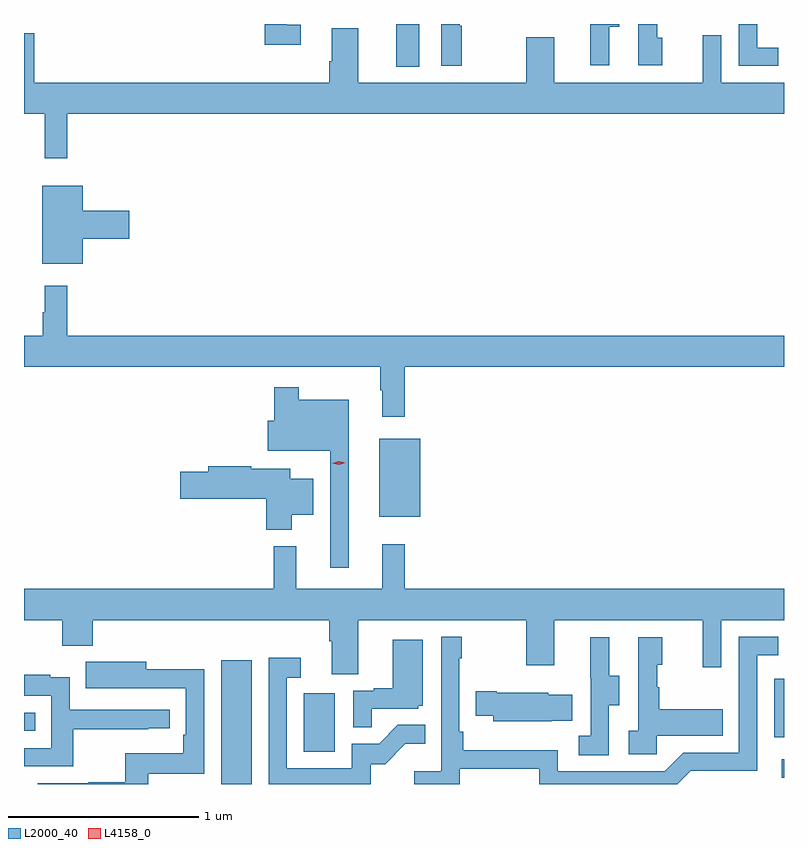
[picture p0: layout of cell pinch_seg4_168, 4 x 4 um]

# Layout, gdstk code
import gdstk
lib = gdstk.Library(unit=1e-6, precision=1e-09)
def R(c, l, rs):  # rectangles x0, y0, x1, y1
    for r in rs: c.add(gdstk.rectangle(r[:2], r[2:], *l))
def P(c, l, *ps):  # polygons
    for p in ps: c.add(gdstk.Polygon(p, *l))
L2000_40 = (2000, 40)
L4158_0 = (4158, 0)

pinch_seg4_168 = lib.new_cell('pinch_seg4_168')
R(pinch_seg4_168, L2000_40, [(1114.379,791.961,1114.54,792.613), (1117.329,791.994,1117.342,792.09), (1114.814,792.132,1114.978,792.439), (1117.29,792.207,1117.342,792.516), (1113.342,792.24,1113.401,792.336), (1115.213,793.367,1115.428,793.777), (1115.3,795.737,1115.422,795.961), (1117.29,795.96,1117.342,795.961)])
P(pinch_seg4_168, L2000_40, [(1114.798,795.957),(1114.725,795.957),(1114.725,795.961),(1114.609,795.961),(1114.609,795.852),(1114.798,795.852)],
  [(1116.421,795.946),(1116.475,795.946),(1116.475,795.961),(1116.324,795.961),(1116.324,795.957),(1116.323,795.957),(1116.323,795.744),(1116.421,795.744)],
  [(1116.7,795.888),(1116.675,795.888),(1116.675,795.961),(1116.576,795.961),(1116.576,795.744),(1116.7,795.744)],
  [(1115.647,795.953),(1115.635,795.953),(1115.635,795.961),(1115.538,795.961),(1115.538,795.741),(1115.647,795.741)],
  [(1117.313,795.837),(1117.2,795.837),(1117.2,795.961),(1117.104,795.961),(1117.104,795.741),(1117.313,795.741)],
  [(1117.342,795.652),(1117.011,795.652),(1117.011,795.901),(1116.914,795.901),(1116.914,795.652),(1116.133,795.652),(1116.133,795.892),(1115.986,795.892),(1115.986,795.652),(1115.101,795.652),(1115.101,795.938),(1114.961,795.938),(1114.961,795.764),(1114.949,795.764),(1114.949,795.652),(1113.395,795.652),(1113.395,795.913),(1113.342,795.913),(1113.342,795.488),(1113.452,795.488),(1113.452,795.255),(1113.569,795.255),(1113.569,795.488),(1117.342,795.488)],
  [(1113.652,794.831),(1113.895,794.831),(1113.895,794.978),(1113.652,794.978),(1113.652,795.109),(1113.437,795.109),(1113.437,794.699),(1113.652,794.699)],
  [(1115.345,794.156),(1117.342,794.156),(1117.342,794.32),(1113.569,794.32),(1113.569,794.584),(1113.452,794.584),(1113.452,794.444),(1113.441,794.444),(1113.441,794.32),(1113.342,794.32),(1113.342,794.156),(1115.217,794.156),(1115.217,794.033),(1115.228,794.033),(1115.228,793.893),(1115.345,793.893)],
  [(1115.05,793.984),(1114.789,793.984),(1114.789,794.05),(1114.66,794.05),(1114.66,793.873),(1114.626,793.873),(1114.626,793.715),(1114.953,793.715),(1114.953,793.098),(1115.05,793.098)],
  [(1114.75,793.379),(1114.864,793.379),(1114.864,793.567),(1114.744,793.567),(1114.744,793.621),(1114.538,793.621),(1114.538,793.634),(1114.313,793.634),(1114.313,793.604),(1114.164,793.604),(1114.164,793.462),(1114.616,793.462),(1114.616,793.298),(1114.75,793.298)],
  [(1115.101,792.824),(1115.986,792.824),(1115.986,792.585),(1116.133,792.585),(1116.133,792.824),(1116.914,792.824),(1116.914,792.576),(1117.011,792.576),(1117.011,792.824),(1117.342,792.824),(1117.342,792.988),(1115.345,792.988),(1115.345,793.222),(1115.228,793.222),(1115.228,792.988),(1114.775,792.988),(1114.775,793.213),(1114.657,793.213),(1114.657,792.988),(1113.342,792.988),(1113.342,792.824),(1113.544,792.824),(1113.544,792.689),(1113.704,792.689),(1113.704,792.824),(1114.949,792.824),(1114.949,792.712),(1114.961,792.712),(1114.961,792.538),(1115.101,792.538)],
  [(1115.636,792.042),(1116.054,792.042),(1116.054,791.961),(1116.781,791.961),(1116.85,792.03),(1117.2,792.03),(1117.2,792.639),(1117.313,792.639),(1117.313,792.735),(1117.104,792.735),(1117.104,792.126),(1116.813,792.126),(1116.714,792.027),(1116.15,792.027),(1116.15,792.139),(1115.654,792.139),(1115.654,792.235),(1115.634,792.235),(1115.634,792.623),(1115.647,792.623),(1115.647,792.736),(1115.538,792.736),(1115.538,792.028),(1115.397,792.028),(1115.397,791.961),(1115.636,791.961)],
  [(1116.42,792.376),(1116.475,792.376),(1116.475,792.531),(1116.421,792.531),(1116.421,792.733),(1116.323,792.733),(1116.323,792.519),(1116.324,792.519),(1116.324,792.215),(1116.261,792.215),(1116.261,792.112),(1116.42,792.112)],
  [(1116.672,792.215),(1117.019,792.215),(1117.019,792.355),(1116.685,792.355),(1116.685,792.47),(1116.675,792.47),(1116.675,792.588),(1116.7,792.588),(1116.7,792.733),(1116.576,792.733),(1116.576,792.242),(1116.525,792.242),(1116.525,792.117),(1116.672,792.117)],
  [(1115.171,792.357),(1115.418,792.357),(1115.418,792.372),(1115.44,792.372),(1115.44,792.721),(1115.282,792.721),(1115.282,792.466),(1115.183,792.466),(1115.183,792.453),(1115.076,792.453),(1115.076,792.259),(1115.171,792.259)],
  [(1115.166,792.066),(1115.242,792.066),(1115.349,792.173),(1115.453,792.173),(1115.453,792.272),(1115.309,792.272),(1115.211,792.174),(1115.067,792.174),(1115.067,792.045),(1114.725,792.045),(1114.725,792.519),(1114.798,792.519),(1114.798,792.625),(1114.629,792.625),(1114.629,791.961),(1115.166,791.961)],
  [(1113.997,792.015),(1114.29,792.015),(1114.29,792.566),(1113.985,792.566),(1113.985,792.604),(1113.667,792.604),(1113.667,792.464),(1113.881,792.464),(1113.881,792.465),(1114.194,792.465),(1114.194,792.22),(1114.181,792.22),(1114.181,792.124),(1113.876,792.124),(1113.876,791.969),(1113.679,791.969),(1113.679,791.964),(1113.414,791.964),(1113.414,791.961),(1113.997,791.961)],
  [(1113.602,792.25),(1113.995,792.25),(1113.995,792.255),(1114.108,792.255),(1114.108,792.351),(1113.582,792.351),(1113.582,792.523),(1113.479,792.523),(1113.479,792.535),(1113.342,792.535),(1113.342,792.426),(1113.486,792.426),(1113.486,792.15),(1113.342,792.15),(1113.342,792.054),(1113.602,792.054)],
  [(1116.119,792.293),(1116.227,792.293),(1116.227,792.43),(1116.102,792.43),(1116.102,792.442),(1115.83,792.442),(1115.83,792.45),(1115.719,792.45),(1115.719,792.32),(1115.813,792.32),(1115.813,792.29),(1116.119,792.29)])
P(pinch_seg4_168, L4158_0, [(1115,793.641),(1114.964,793.648),(1114.963,793.648),(1114.964,793.648),(1114.998,793.661),(1115.034,793.653),(1115.034,793.653),(1115.034,793.653)])

lib.write_gds('pinch_seg4_168.gds')
